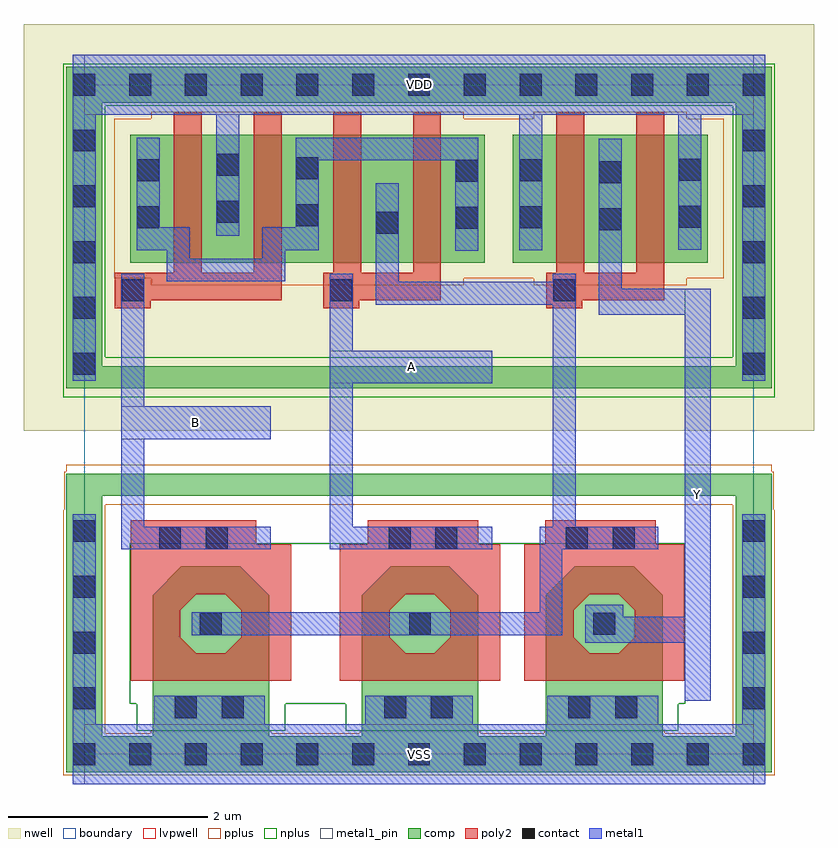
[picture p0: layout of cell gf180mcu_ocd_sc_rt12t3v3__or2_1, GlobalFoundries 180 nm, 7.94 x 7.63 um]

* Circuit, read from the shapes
.subckt gf180mcu_ocd_sc_rt12t3v3__or2_1 A B VDD VSS Y
XM1 n1 B VSS VSS nfet_03v3 w=1.785u l=0.5375u
XM2 n1 A VSS VSS nfet_03v3 w=1.785u l=0.5239u
XM3 Y n1 VSS VSS nfet_03v3 w=1.785u l=0.5356u
XM4 VDD B n2 VDD pfet_03v3 w=1.285u l=0.28u m=2
XM5 n1 A n2 VDD pfet_03v3 w=1.285u l=0.28u m=2
XM6 Y n1 VDD VDD pfet_03v3 w=1.285u l=0.28u m=2
.ends

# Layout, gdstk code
import gdstk
lib = gdstk.Library(unit=1e-6, precision=1e-09)
def R(c, l, rs):  # rectangles x0, y0, x1, y1
    for r in rs: c.add(gdstk.rectangle(r[:2], r[2:], *l))
def A(c, l, x, y, w, h, nx, ny, dx, dy):  # array of equal rectangles
    R(c, l, [(x+i*dx, y+j*dy, x+i*dx+w, y+j*dy+h) for i in range(nx) for j in range(ny)])
def P(c, l, *ps):  # polygons
    for p in ps: c.add(gdstk.Polygon(p, *l))
boundary = (0, 0)
nwell = (21, 0)
comp = (22, 0)
poly2 = (30, 0)
pplus = (31, 0)
nplus = (32, 0)
contact = (33, 0)
metal1 = (34, 0)
metal1_pin = (34, 10)
lvpwell = (204, 0)

gf180mcu_ocd_sc_rt12t3v3 = lib.new_cell('gf180mcu_ocd_sc_rt12t3v3__or2_1')
R(gf180mcu_ocd_sc_rt12t3v3, boundary, [(0,0,6.72,6.72)])
R(gf180mcu_ocd_sc_rt12t3v3, nwell, [(-0.61,3.245,7.33,7.33)])
R(gf180mcu_ocd_sc_rt12t3v3, comp, [(-0.18,-0.18,6.9,0.18), (-0.18,0.18,0.18,2.595), (0.685,0.18,1.855,1.595), (2.785,0.18,3.955,1.595), (4.635,0.18,5.805,1.595), (6.54,0.18,6.9,2.595), (0.975,1.595,1.565,1.885), (3.075,1.595,3.665,1.885), (4.925,1.595,5.515,1.885), (-0.18,2.595,6.9,2.815), (-0.18,3.675,6.9,3.895), (-0.18,3.895,0.18,6.54), (6.54,3.895,6.9,6.54), (0.46,4.935,4.02,6.22), (4.3,4.935,6.26,6.22), (-0.18,6.54,6.9,6.9)])
P(gf180mcu_ocd_sc_rt12t3v3, comp, [(0.685,1.595),(0.975,1.595),(0.975,1.885)],
  [(1.565,1.885),(1.565,1.595),(1.855,1.595)],
  [(2.785,1.595),(3.075,1.595),(3.075,1.885)],
  [(3.665,1.885),(3.665,1.595),(3.955,1.595)],
  [(4.635,1.595),(4.925,1.595),(4.925,1.885)],
  [(5.515,1.885),(5.515,1.595),(5.805,1.595)])
A(gf180mcu_ocd_sc_rt12t3v3, poly2, 0.9, 4.835, 0.28, 1.605, 4, 1, 0.8, 0)
R(gf180mcu_ocd_sc_rt12t3v3, poly2, [(0.465,0.735,2.075,1.015), (2.565,0.735,4.175,1.015), (4.415,0.735,6.025,1.015), (0.465,1.015,0.965,1.595), (1.575,1.015,2.075,1.595), (2.565,1.015,3.065,1.595), (3.675,1.015,4.175,1.595), (4.415,1.015,4.915,1.595), (5.525,1.015,6.025,1.595), (0.465,1.595,1.115,1.605), (1.425,1.595,2.075,1.605), (2.565,1.595,3.215,1.605), (3.525,1.595,4.175,1.605), (4.415,1.595,5.065,1.605), (5.375,1.595,6.025,1.605), (0.465,1.605,2.075,2.105), (2.565,1.605,4.175,2.105), (4.415,1.605,6.025,2.105), (0.465,2.105,1.725,2.35), (2.845,2.105,3.955,2.35), (4.625,2.105,5.735,2.35), (0.305,4.475,0.665,4.555), (2.4,4.475,2.76,4.555), (4.64,4.475,5,4.555), (0.305,4.555,1.98,4.835), (2.4,4.555,3.58,4.835), (4.64,4.555,5.82,4.835), (4.74,4.835,5.02,6.44), (5.54,4.835,5.82,6.44)])
P(gf180mcu_ocd_sc_rt12t3v3, poly2, [(1.115,1.595),(1.115,1.605),(1.125,1.605)],
  [(1.415,1.605),(1.425,1.605),(1.425,1.595)],
  [(0.965,1.445),(0.965,1.595),(1.115,1.595)],
  [(1.425,1.595),(1.575,1.595),(1.575,1.445)],
  [(0.965,1.175),(0.965,1.015),(1.125,1.015)],
  [(1.415,1.015),(1.575,1.015),(1.575,1.175)],
  [(3.215,1.595),(3.215,1.605),(3.225,1.605)],
  [(3.515,1.605),(3.525,1.605),(3.525,1.595)],
  [(3.065,1.445),(3.065,1.595),(3.215,1.595)],
  [(3.525,1.595),(3.675,1.595),(3.675,1.445)],
  [(3.065,1.175),(3.065,1.015),(3.225,1.015)],
  [(3.515,1.015),(3.675,1.015),(3.675,1.175)],
  [(5.065,1.595),(5.065,1.605),(5.075,1.605)],
  [(5.365,1.605),(5.375,1.605),(5.375,1.595)],
  [(4.915,1.445),(4.915,1.595),(5.065,1.595)],
  [(5.375,1.595),(5.525,1.595),(5.525,1.445)],
  [(4.915,1.175),(4.915,1.015),(5.075,1.015)],
  [(5.365,1.015),(5.525,1.015),(5.525,1.175)])
R(gf180mcu_ocd_sc_rt12t3v3, pplus, [(-0.21,-0.21,6.93,0.21), (-0.21,0.21,0.21,2.45), (0.665,0.21,1.875,0.235), (2.765,0.21,3.975,0.235), (4.615,0.21,5.825,0.235), (6.51,0.21,6.93,2.45), (-0.2,2.45,0.21,2.505), (6.51,2.45,6.92,2.505), (-0.2,2.505,6.92,2.835), (-0.18,2.835,6.9,2.905), (0.67,4.705,3.81,4.775), (4.51,4.705,6.05,4.775), (0.3,4.775,6.42,6.38), (0.67,6.38,3.81,6.45), (4.51,6.38,6.05,6.45)])
R(gf180mcu_ocd_sc_rt12t3v3, nplus, [(0.525,0.235,2.015,0.505), (2.625,0.235,5.965,0.505), (0.455,0.505,6.035,2.115), (-0.21,3.585,6.93,3.985), (-0.21,3.985,0.21,6.51), (6.51,3.985,6.93,6.51), (-0.21,6.51,6.93,6.93)])
A(gf180mcu_ocd_sc_rt12t3v3, contact, -0.11, -0.11, 0.22, 0.22, 13, 2, 0.56, 6.72)
A(gf180mcu_ocd_sc_rt12t3v3, contact, -0.11, 0.45, 0.22, 0.22, 1, 4, 0, 0.56)
A(gf180mcu_ocd_sc_rt12t3v3, contact, 6.61, 0.45, 0.22, 0.22, 1, 4, 0, 0.56)
A(gf180mcu_ocd_sc_rt12t3v3, contact, -0.11, 3.81, 0.22, 0.22, 1, 5, 0, 0.56)
A(gf180mcu_ocd_sc_rt12t3v3, contact, 6.61, 3.81, 0.22, 0.22, 1, 5, 0, 0.56)
R(gf180mcu_ocd_sc_rt12t3v3, contact, [(0.91,0.36,1.13,0.58), (1.38,0.36,1.6,0.58), (3.01,0.36,3.23,0.58), (3.48,0.36,3.7,0.58), (4.86,0.36,5.08,0.58), (5.33,0.36,5.55,0.58), (1.16,1.2,1.38,1.42), (3.26,1.2,3.48,1.42), (5.11,1.2,5.33,1.42), (0.75,2.06,0.97,2.28), (1.22,2.06,1.44,2.28), (3.055,2.06,3.275,2.28), (3.525,2.06,3.745,2.28), (4.835,2.06,5.055,2.28), (5.305,2.06,5.525,2.28), (0.375,4.545,0.595,4.765), (2.47,4.545,2.69,4.765), (4.71,4.545,4.93,4.765), (2.93,5.225,3.15,5.445), (5.17,5.26,5.39,5.48), (3.73,5.275,3.95,5.495), (0.53,5.28,0.75,5.5), (4.37,5.28,4.59,5.5), (5.97,5.285,6.19,5.505), (2.13,5.3,2.35,5.52), (1.33,5.335,1.55,5.555), (5.17,5.73,5.39,5.95), (3.73,5.745,3.95,5.965), (0.53,5.75,0.75,5.97), (4.37,5.75,4.59,5.97), (5.97,5.755,6.19,5.975), (2.13,5.77,2.35,5.99), (1.33,5.805,1.55,6.025)])
R(gf180mcu_ocd_sc_rt12t3v3, metal1, [(-0.115,-0.3,6.835,0.3), (-0.115,0.3,0.115,2.41), (0.7,0.3,1.81,0.585), (2.82,0.3,3.9,0.585), (4.65,0.3,5.76,0.585), (6.605,0.3,6.835,2.41), (6.03,0.535,6.29,1.12), (5.03,1.12,6.29,1.38), (1.08,1.195,4.8,1.425), (5.03,1.38,5.41,1.5), (6.03,1.38,6.29,4.41), (4.57,1.425,4.8,2.055), (0.37,2.055,1.87,2.285), (2.465,2.055,4.095,2.285), (4.57,2.055,5.76,2.285), (0.37,2.285,0.6,3.16), (2.465,2.285,2.695,3.725), (4.705,2.285,4.935,4.51), (0.37,3.16,1.87,3.49), (0.37,3.49,0.6,4.825), (2.465,3.725,4.095,4.05), (-0.115,3.75,0.115,6.42), (6.605,3.75,6.835,6.42), (2.465,4.05,2.695,4.825), (5.165,4.41,6.29,4.67), (2.925,4.51,4.935,4.74), (5.165,4.67,5.395,6.18), (2.925,4.74,3.155,5.73), (4.705,4.74,4.935,4.825), (0.83,4.745,2.015,4.975), (0.83,4.975,1.06,5.06), (1.785,4.975,2.015,5.06), (3.725,5.055,3.955,5.96), (0.525,5.06,1.06,5.29), (1.785,5.06,2.355,5.29), (4.365,5.06,4.595,6.42), (5.965,5.065,6.195,6.42), (1.325,5.205,1.555,6.42), (0.525,5.29,0.755,6.19), (2.125,5.29,2.355,5.96), (2.125,5.96,3.955,6.19), (-0.115,6.42,6.835,7.02)])
R(gf180mcu_ocd_sc_rt12t3v3, metal1_pin, [(0,-0.3,6.72,0.3), (6.03,0.535,6.29,4.67), (0.37,3.16,1.87,3.49), (2.465,3.725,4.095,4.05), (0,6.42,6.72,7.02)])
R(gf180mcu_ocd_sc_rt12t3v3, lvpwell, [(0,-0.3,6.72,-0.18), (-0.18,-0.18,6.9,2.815)])
gf180mcu_ocd_sc_rt12t3v3.add(gdstk.Label('A', (3.28,3.887), layer=34, texttype=10))
gf180mcu_ocd_sc_rt12t3v3.add(gdstk.Label('B', (1.12,3.325), layer=34, texttype=10))
gf180mcu_ocd_sc_rt12t3v3.add(gdstk.Label('Y', (6.16,2.602), layer=34, texttype=10))
gf180mcu_ocd_sc_rt12t3v3.add(gdstk.Label('VDD', (3.36,6.72), layer=34, texttype=10))
gf180mcu_ocd_sc_rt12t3v3.add(gdstk.Label('VSS', (3.36,0), layer=34, texttype=10))

lib.write_gds('gf180mcu_ocd_sc_rt12t3v3__or2_1.gds')
